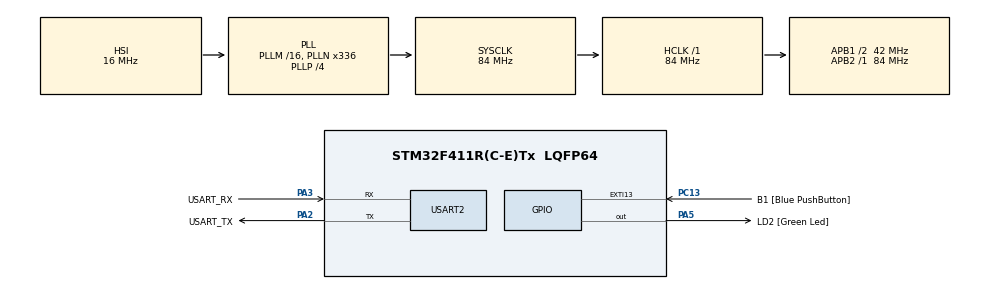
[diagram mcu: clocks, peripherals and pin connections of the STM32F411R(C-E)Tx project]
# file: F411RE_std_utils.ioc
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Dma.Request0=USART2_RX
Dma.Request1=USART2_TX
Dma.USART2_RX.0.Direction=DMA_PERIPH_TO_MEMORY
Dma.USART2_RX.0.FIFOMode=DMA_FIFOMODE_DISABLE
Dma.USART2_RX.0.Instance=DMA1_Stream5
Dma.USART2_RX.0.MemDataAlignment=DMA_MDATAALIGN_BYTE
Dma.USART2_RX.0.MemInc=DMA_MINC_ENABLE
Dma.USART2_RX.0.Mode=DMA_CIRCULAR
Dma.USART2_RX.0.PeriphDataAlignment=DMA_PDATAALIGN_BYTE
Dma.USART2_RX.0.PeriphInc=DMA_PINC_DISABLE
Dma.USART2_RX.0.Priority=DMA_PRIORITY_LOW
Dma.USART2_TX.1.Direction=DMA_MEMORY_TO_PERIPH
Dma.USART2_TX.1.FIFOMode=DMA_FIFOMODE_DISABLE
Dma.USART2_TX.1.Instance=DMA1_Stream6
Dma.USART2_TX.1.MemDataAlignment=DMA_MDATAALIGN_BYTE
Dma.USART2_TX.1.MemInc=DMA_MINC_ENABLE
Dma.USART2_TX.1.Mode=DMA_NORMAL
Dma.USART2_TX.1.PeriphDataAlignment=DMA_PDATAALIGN_BYTE
Dma.USART2_TX.1.PeriphInc=DMA_PINC_DISABLE
Dma.USART2_TX.1.Priority=DMA_PRIORITY_LOW
Mcu.Family=STM32F4
Mcu.Name=STM32F411R(C-E)Tx
Mcu.Package=LQFP64
NVIC.DMA1_Stream5_IRQn=true\:0\:0\:false\:false\:true\:false\:true\:true
NVIC.DMA1_Stream6_IRQn=true\:0\:0\:false\:false\:true\:false\:true\:true
NVIC.PriorityGroup=NVIC_PRIORITYGROUP_0
NVIC.USART2_IRQn=true\:0\:0\:false\:false\:true\:true\:true\:true
PA13.GPIO_Label=TMS
PA13.Mode=Serial_Wire
PA13.Signal=SYS_JTMS-SWDIO
PA14.GPIO_Label=TCK
PA14.Mode=Serial_Wire
PA14.Signal=SYS_JTCK-SWCLK
PA2.GPIO_Label=USART_TX
PA2.Mode=Asynchronous
PA2.Signal=USART2_TX
PA3.GPIO_Label=USART_RX
PA3.Mode=Asynchronous
PA3.Signal=USART2_RX
PA5.GPIO_Label=LD2 [Green Led]
PA5.Signal=GPIO_Output
PB3.GPIO_Label=SWO
PB3.Signal=SYS_JTDO-SWO
PC13-ANTI_TAMP.GPIO_Label=B1 [Blue PushButton]
PC13-ANTI_TAMP.GPIO_ModeDefaultEXTI=GPIO_MODE_IT_FALLING
PC13-ANTI_TAMP.Signal=GPXTI13
PC14-OSC32_IN.Mode=LSE-External-Oscillator
PC14-OSC32_IN.Signal=RCC_OSC32_IN
PC15-OSC32_OUT.Mode=LSE-External-Oscillator
PC15-OSC32_OUT.Signal=RCC_OSC32_OUT
PH0\ -\ OSC_IN.Mode=HSE-External-Clock-Source
PH0\ -\ OSC_IN.Signal=RCC_OSC_IN
PH1\ -\ OSC_OUT.Mode=HSE-External-Clock-Source
PH1\ -\ OSC_OUT.Signal=RCC_OSC_OUT
ProjectManager.HeapSize=0x200
ProjectManager.StackSize=0x400
ProjectManager.TargetToolchain=STM32CubeIDE
RCC.48MHZClocksFreq_Value=84000000
RCC.AHBFreq_Value=84000000
RCC.APB1CLKDivider=RCC_HCLK_DIV2
RCC.APB1Freq_Value=42000000
RCC.APB1TimFreq_Value=84000000
RCC.APB2Freq_Value=84000000
RCC.APB2TimFreq_Value=84000000
RCC.CortexFreq_Value=84000000
RCC.FLatency-AdvancedSettings=FLASH_LATENCY_2
RCC.HCLKFreq_Value=84000000
RCC.HSE_VALUE=8000000
RCC.HSI_VALUE=16000000
RCC.PLLN=336
RCC.PLLP=RCC_PLLP_DIV4
RCC.SYSCLKFreq_VALUE=84000000
RCC.SYSCLKSource=RCC_SYSCLKSOURCE_PLLCLK
RCC.VCOOutputFreq_Value=336000000
USART2.VirtualMode=VM_ASYNC
board=NUCLEO-F411RE

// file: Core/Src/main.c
/* USER CODE BEGIN Header */
/**
  ******************************************************************************
  * @file           : main.c
  * @brief          : Main program body
  ******************************************************************************
  * @attention
  *
  * Copyright (c) 2024 STMicroelectronics.
  * All rights reserved.
  *
  * This software is licensed under terms that can be found in the LICENSE file
  * in the root directory of this software component.
  * If no LICENSE file comes with this software, it is provided AS-IS.
  *
  ******************************************************************************
  */
/* USER CODE END Header */
#include "main.h"
#include "dma.h"
#include "usart.h"
#include "gpio.h"

/* USER CODE BEGIN Includes */
#include "BVR_common_defs.h"
#include "BVR_debug_logger.h"
#include "BVR_fifo_buffer.h"
#include "BVR_utils.h"

/* USER CODE END Includes */

/* USER CODE BEGIN PTD */

fifo_t dbg_uart_tx_fifo;
reset_cause_t reset_cause;

/* USER CODE END PTD */

/* USER CODE BEGIN PV */

const char *reset_cause_str = NULL;
char firmware_date[24] = {'\0'};

/* USER CODE END PV */

void SystemClock_Config(void);

/* USER CODE BEGIN 0 */

void HAL_UART_TxCpltCallback(UART_HandleTypeDef *huart)
{
    volatile temp_buffer_t temp_dma;
    if(huart == &DBG_HUART)
    {
        // pop from the fifo
        temp_dma = BVR_fifo_pop_from_temp(&dbg_uart_tx_fifo);
        // Send to the DMA
        HAL_UART_Transmit_DMA(  &DBG_HUART,
                                temp_dma.p_temp_buff,
                                temp_dma.buff_size);
    }
}

/* USER CODE END 0 */

int main(void)
{

  /* MCU Configuration--------------------------------------------------------*/

  /* Reset of all peripherals, Initializes the Flash interface and the Systick. */
  HAL_Init();

  /* Configure the system clock */
  SystemClock_Config();

  /* Initialize all configured peripherals */
  MX_GPIO_Init();
  MX_DMA_Init();
  MX_USART2_UART_Init();
  /* USER CODE BEGIN 2 */
    // Init the debug uart

    reset_cause_str = BVR_reset_cause_get_name(reset_cause);
    BVR_uart_debug_init();
    // get device id
    BVR_get_unique_ID();
    BVR_calculate_crc(U_ID, U_ID_SIZE, &device_UID);
    // get firmware date
    BVR_create_firmware_date(firmware_date);
    // power on message
    BVR_power_on_information(reset_cause_str, firmware_date, U_ID, device_UID);

    // Log with no ID
    BVR_LOG(WARN, "HELLO WORLD!");
    static const char* ID = "CO2";
    BVR_LOG_ID(WARN, ID, "Hello World!");

    BVR_LOG(WARN, "HELLO world! %d", 10);
    BVR_LOG(WARN, "hello WORLD!");
  /* USER CODE END 2 */

  /* Infinite loop */
  /* USER CODE BEGIN WHILE */
  while (1)
  {
    HAL_Delay(1000);

    BVR_LOG(WARN, "hello WORLD!");

    BVR_LOG_ID(WARN, ID, "Hello World!");

    BVR_LOG(WARN, "HELLO world! %d", 10);
    /* USER CODE END WHILE */

  }
}

void SystemClock_Config(void)
{
  RCC_OscInitTypeDef RCC_OscInitStruct = {0};
  RCC_ClkInitTypeDef RCC_ClkInitStruct = {0};

  /** Configure the main internal regulator output voltage
  */
  __HAL_RCC_PWR_CLK_ENABLE();
  __HAL_PWR_VOLTAGESCALING_CONFIG(PWR_REGULATOR_VOLTAGE_SCALE1);

  /** Initializes the RCC Oscillators according to the specified parameters
  * in the RCC_OscInitTypeDef structure.
  */
  RCC_OscInitStruct.OscillatorType = RCC_OSCILLATORTYPE_HSI;
  RCC_OscInitStruct.HSIState = RCC_HSI_ON;
  RCC_OscInitStruct.HSICalibrationValue = RCC_HSICALIBRATION_DEFAULT;
  RCC_OscInitStruct.PLL.PLLState = RCC_PLL_ON;
  RCC_OscInitStruct.PLL.PLLSource = RCC_PLLSOURCE_HSI;
  RCC_OscInitStruct.PLL.PLLM = 16;
  RCC_OscInitStruct.PLL.PLLN = 336;
  RCC_OscInitStruct.PLL.PLLP = RCC_PLLP_DIV4;
  RCC_OscInitStruct.PLL.PLLQ = 4;
  if (HAL_RCC_OscConfig(&RCC_OscInitStruct) != HAL_OK)
  {
    Error_Handler();
  }

  /** Initializes the CPU, AHB and APB buses clocks
  */
  RCC_ClkInitStruct.ClockType = RCC_CLOCKTYPE_HCLK|RCC_CLOCKTYPE_SYSCLK
                              |RCC_CLOCKTYPE_PCLK1|RCC_CLOCKTYPE_PCLK2;
  RCC_ClkInitStruct.SYSCLKSource = RCC_SYSCLKSOURCE_PLLCLK;
  RCC_ClkInitStruct.AHBCLKDivider = RCC_SYSCLK_DIV1;
  RCC_ClkInitStruct.APB1CLKDivider = RCC_HCLK_DIV2;
  RCC_ClkInitStruct.APB2CLKDivider = RCC_HCLK_DIV1;

  if (HAL_RCC_ClockConfig(&RCC_ClkInitStruct, FLASH_LATENCY_2) != HAL_OK)
  {
    Error_Handler();
  }
}

void Error_Handler(void)
{
  __disable_irq();
  while (1)
  {
  }
}
